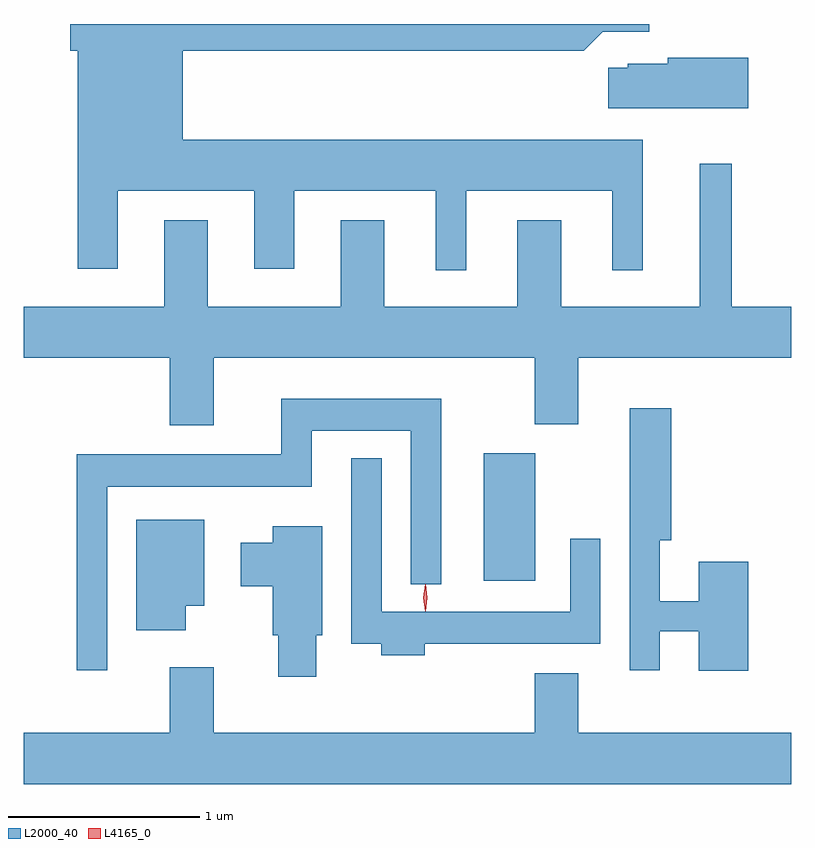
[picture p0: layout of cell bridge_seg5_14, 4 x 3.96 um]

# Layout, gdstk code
import gdstk
lib = gdstk.Library(unit=1e-6, precision=1e-09)
def R(c, l, rs):  # rectangles x0, y0, x1, y1
    for r in rs: c.add(gdstk.rectangle(r[:2], r[2:], *l))
def P(c, l, *ps):  # polygons
    for p in ps: c.add(gdstk.Polygon(p, *l))
L2000_40 = (2000, 40)
L4165_0 = (4165, 0)

bridge_seg5_14 = lib.new_cell('bridge_seg5_14')
R(bridge_seg5_14, L2000_40, [(1259.766,1473.396,1260.034,1474.059)])
P(bridge_seg5_14, L2000_40, [(1259.674,1475.426),(1260.436,1475.426),(1260.436,1475.013),(1260.594,1475.013),(1260.594,1475.694),(1258.199,1475.694),(1258.199,1476.156),(1260.287,1476.156),(1260.387,1476.256),(1260.629,1476.256),(1260.629,1476.296),(1257.611,1476.296),(1257.611,1476.156),(1257.651,1476.156),(1257.651,1475.021),(1257.859,1475.021),(1257.859,1475.426),(1258.571,1475.426),(1258.571,1475.021),(1258.779,1475.021),(1258.779,1475.426),(1259.516,1475.426),(1259.516,1475.013),(1259.674,1475.013)],
  [(1261.144,1476.119),(1260.726,1476.119),(1260.726,1476.089),(1260.516,1476.089),(1260.516,1476.069),(1260.416,1476.069),(1260.416,1475.856),(1261.144,1475.856)],
  [(1258.359,1474.556),(1260.031,1474.556),(1260.031,1474.211),(1260.259,1474.211),(1260.259,1474.556),(1261.369,1474.556),(1261.369,1474.824),(1261.059,1474.824),(1261.059,1475.568),(1260.891,1475.568),(1260.891,1474.824),(1260.169,1474.824),(1260.169,1475.274),(1259.941,1475.274),(1259.941,1474.824),(1259.249,1474.824),(1259.249,1475.274),(1259.021,1475.274),(1259.021,1474.824),(1258.329,1474.824),(1258.329,1475.274),(1258.101,1475.274),(1258.101,1474.824),(1257.369,1474.824),(1257.369,1474.556),(1258.131,1474.556),(1258.131,1474.206),(1258.359,1474.206)],
  [(1257.804,1473.886),(1258.869,1473.886),(1258.869,1474.176),(1259.386,1474.176),(1259.386,1473.378),(1259.544,1473.378),(1259.544,1474.344),(1258.711,1474.344),(1258.711,1474.054),(1257.646,1474.054),(1257.646,1472.928),(1257.804,1472.928)],
  [(1261.144,1473.494),(1260.886,1473.494),(1260.886,1473.289),(1260.684,1473.289),(1260.684,1473.606),(1260.744,1473.606),(1260.744,1474.294),(1260.526,1474.294),(1260.526,1472.928),(1260.684,1472.928),(1260.684,1473.131),(1260.886,1473.131),(1260.886,1472.926),(1261.144,1472.926)],
  [(1259.459,1473.066),(1260.374,1473.066),(1260.374,1473.613),(1260.216,1473.613),(1260.216,1473.234),(1259.234,1473.234),(1259.234,1474.033),(1259.076,1474.033),(1259.076,1473.066),(1259.231,1473.066),(1259.231,1473.006),(1259.459,1473.006)],
  [(1258.214,1473.266),(1258.309,1473.266),(1258.309,1473.714),(1257.956,1473.714),(1257.956,1473.136),(1258.214,1473.136)],
  [(1258.894,1473.111),(1258.924,1473.111),(1258.924,1473.679),(1258.666,1473.679),(1258.666,1473.594),(1258.501,1473.594),(1258.501,1473.366),(1258.666,1473.366),(1258.666,1473.111),(1258.696,1473.111),(1258.696,1472.896),(1258.894,1472.896)],
  [(1261.369,1472.604),(1260.259,1472.604),(1260.259,1472.914),(1260.031,1472.914),(1260.031,1472.604),(1258.359,1472.604),(1258.359,1472.944),(1258.131,1472.944),(1258.131,1472.604),(1257.369,1472.604),(1257.369,1472.336),(1261.369,1472.336)])
P(bridge_seg5_14, L4165_0, [(1259.462,1473.237),(1259.462,1473.237),(1259.452,1473.307),(1259.462,1473.376),(1259.462,1473.376),(1259.463,1473.376),(1259.472,1473.307),(1259.463,1473.237)])

lib.write_gds('bridge_seg5_14.gds')
